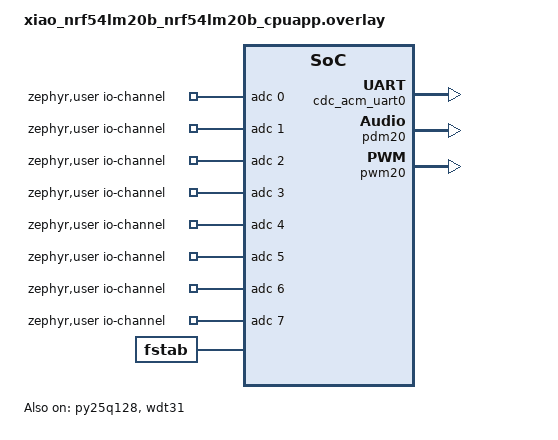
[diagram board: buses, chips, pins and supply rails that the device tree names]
/* XIAO nRF54LM20B MicroPython application overlay. */

/ {
    chosen {
        zephyr,console = &cdc_acm_uart0;
        zephyr,shell-uart = &cdc_acm_uart0;
        zephyr,uart-mcumgr = &cdc_acm_uart0;
        zephyr,bt-mon-uart = &cdc_acm_uart0;
        zephyr,bt-c2h-uart = &cdc_acm_uart0;
    };

    zephyr,user {
        io-channels = <&adc 0>, <&adc 1>, <&adc 2>, <&adc 3>,
                       <&adc 4>, <&adc 5>, <&adc 6>, <&adc 7>;
    };
};

&zephyr_udc0 {
    cdc_acm_uart0: cdc_acm_uart0 {
        compatible = "zephyr,cdc-acm-uart";
        label = "XIAO nRF54LM20B USB CDC ACM";
    };
};

/* Remove the small internal-RRAM storage partition. */
/delete-node/ &storage_partition;

/* The board's user storage is the external 128-Mbit PY25Q128HA SPI NOR.
 * Keep the MCUboot/app partitions in internal RRAM and expose the external
 * flash as the MicroPython filesystem block device. */
&py25q128 {
	status = "okay";

	partitions {
		compatible = "fixed-partitions";
		#address-cells = <1>;
		#size-cells = <1>;

		storage_partition: partition@0 {
			label = "storage";
			reg = <0x0 0x1000000>;
		};
	};
};

/ {
    fstab {
        compatible = "zephyr,fstab";
        lfs1: lfs1 {
            compatible = "zephyr,fstab,littlefs";
            mount-point = "/flash";
            partition = <&storage_partition>;
            automount;
            read-size = <32>;
            prog-size = <32>;
            cache-size = <128>;
            lookahead-size = <64>;
            block-cycles = <2048>;
        };
    };
};

&pdm20 {
    status = "okay";
};

&pwm20 {
    status = "okay";
};

&wdt31 {
    status = "okay";
};
